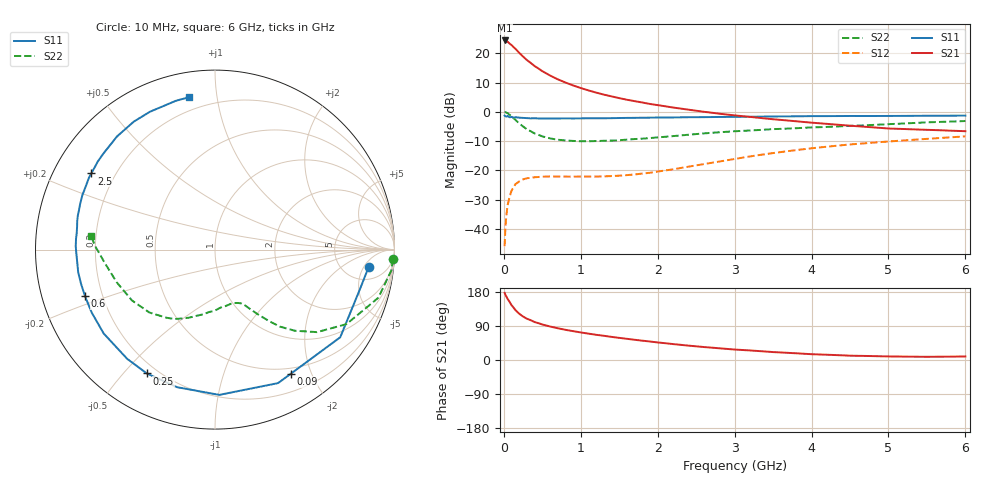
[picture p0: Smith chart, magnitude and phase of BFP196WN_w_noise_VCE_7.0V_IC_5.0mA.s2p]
! Infineon Technologies  Discrete & RF Semiconductors
! BFP196WN
! VCE =  7.0 V,  IC =  5.0 mA
! Common Emitter S-Parameters:  Jan 2017
# GHz  S  MA  R  50
!  f  S11  S21  S12  S22
! GHz  MAG  ANG  MAG  ANG  MAG  ANG  MAG  ANG
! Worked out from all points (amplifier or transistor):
!   77 points, 10 MHz to 6 GHz, reference 50 ohm
!   highest |S21| = 24.4 dB at 10 MHz (marker M1)
!   |S21| within 3 dB of that: start of sweep to 155.7 MHz
!   unconditionally stable (mu >= 1): 1.35 GHz to 2.606 GHz
!   at 130 MHz: K = 0.11, MSG = 23.8 dB, |S12| = -25.6 dB
!   at 2.2 GHz: K = 1.09, MAG = 8.7 dB, |S12| = -19.6 dB
!   at 6 GHz: K = 0.89, MSG = 0.9 dB, |S12| = -8.4 dB
!   lowest NFmin = 1.08 dB at 450 MHz
!   S11 on the Smith chart (normalised r, x): 10 MHz: 9, -6; 90 MHz: 0.42, -1.70; 250 MHz: 0.16, -0.58; 600 MHz: 0.13, -0.17; 2.5 GHz: 0.11, +0.28; 6 GHz: 0.13, +0.84
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0.01  0.8619 -6.4  16.5 177.2  0.0051 86.0  0.9927 -3.1
0.02  0.8367 -15.5  16.07 172.2  0.0104 85.6  0.9898 -6.7
0.05  0.8518 -35.0  15.69 160.9  0.0257 72.2  0.9487 -16.4
0.09  0.8105 -58.7  14.07 148.1  0.041 60.3  0.8599 -26.6
0.1  0.8226 -64.7  13.8 144.5  0.045 58.6  0.8425 -29.5
0.15  0.8098 -88.3  11.9 131.8  0.0582 47.3  0.7306 -39.0
0.2  0.7952 -105.4  10.16 122.1  0.0648 39.5  0.6337 -45.5
0.25  0.7876 -118.8  8.758 114.7  0.0704 34.9  0.5621 -49.8
0.3  0.7809 -128.8  7.641 108.9  0.0735 30.9  0.5032 -52.7
0.4  0.7766 -143.0  6.037 100.1  0.0765 26.4  0.4278 -56.8
0.5  0.7714 -152.9  4.935 93.7  0.0781 24.0  0.3815 -59.6
0.6  0.7694 -160.2  4.172 88.4  0.0789 23.2  0.352 -61.8
0.7  0.7704 -165.9  3.593 83.9  0.0785 23.1  0.3341 -63.9
0.8  0.7726 -170.6  3.165 79.7  0.0785 24.2  0.3249 -66.3
1.1  0.7762 178.6  2.318 69.6  0.0785 28.3  0.3148 -74.1
1.5  0.7837 168.4  1.712 58.4  0.0813 37.8  0.3274 -85.9
2.1  0.7998 155.8  1.242 44.3  0.0999 53.0  0.3752 -103.3
2.5  0.8095 148.4  1.044 36.1  0.122 59.5  0.417 -113.7
3.1  0.8215 137.8  0.844 26.4  0.165 62.3  0.4725 -127.7
4.1  0.8444 121.0  0.638 14.6  0.2463 57.4  0.5469 -151.2
5.1  0.8511 108.5  0.514 9.2  0.3182 48.2  0.6238 -174.2
6  0.8616 99.6  0.467 9.3  0.3814 40.1  0.6964 173.6
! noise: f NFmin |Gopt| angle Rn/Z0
0.45  1.08  0.44  121  0.07
0.9  1.21  0.58  158  0.06
1.9  2.72  0.75  203  0.15
2.4  3.62  0.76  211  0.29
